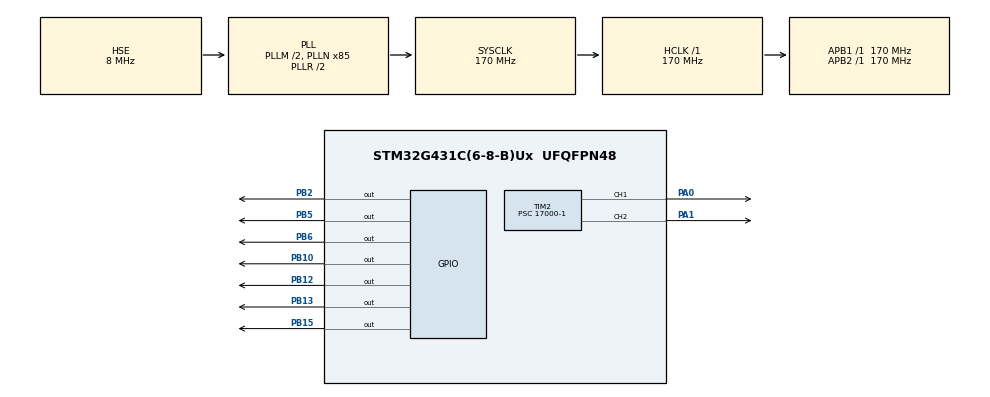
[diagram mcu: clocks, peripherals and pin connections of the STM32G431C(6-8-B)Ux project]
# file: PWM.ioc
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Mcu.Family=STM32G4
Mcu.Name=STM32G431C(6-8-B)Ux
Mcu.Package=UFQFPN48
NVIC.PriorityGroup=NVIC_PRIORITYGROUP_4
PA0.Signal=S_TIM2_CH1
PA1.Signal=S_TIM2_CH2
PA13.Mode=Serial_Wire
PA13.Signal=SYS_JTMS-SWDIO
PA14.Mode=Serial_Wire
PA14.Signal=SYS_JTCK-SWCLK
PB10.Signal=GPIO_Output
PB12.GPIO_PuPd=GPIO_NOPULL
PB12.Signal=GPIO_Output
PB13.Signal=GPIO_Output
PB15.Signal=GPIO_Output
PB2.Signal=GPIO_Output
PB5.Signal=GPIO_Output
PB6.Signal=GPIO_Output
PF0-OSC_IN.Mode=HSE-External-Oscillator
PF0-OSC_IN.Signal=RCC_OSC_IN
PF1-OSC_OUT.Mode=HSE-External-Oscillator
PF1-OSC_OUT.Signal=RCC_OSC_OUT
ProjectManager.HeapSize=0x200
ProjectManager.StackSize=0x400
ProjectManager.TargetToolchain=STM32CubeIDE
RCC.ADC12Freq_Value=170000000
RCC.AHBFreq_Value=170000000
RCC.APB1Freq_Value=170000000
RCC.APB1TimFreq_Value=170000000
RCC.APB2Freq_Value=170000000
RCC.APB2TimFreq_Value=170000000
RCC.CortexFreq_Value=170000000
RCC.EXTERNAL_CLOCK_VALUE=12288000
RCC.HCLKFreq_Value=170000000
RCC.HSE_VALUE=8000000
RCC.HSI48_VALUE=48000000
RCC.HSI_VALUE=16000000
RCC.LSE_VALUE=32768
RCC.PLLM=RCC_PLLM_DIV2
RCC.PLLN=85
RCC.PLLSourceVirtual=RCC_PLLSOURCE_HSE
RCC.SYSCLKFreq_VALUE=170000000
RCC.SYSCLKSource=RCC_SYSCLKSOURCE_PLLCLK
RCC.USBFreq_Value=170000000
RCC.VCOOutputFreq_Value=340000000
SH.S_TIM2_CH1.0=TIM2_CH1,PWM Generation1 CH1
SH.S_TIM2_CH2.0=TIM2_CH2,PWM Generation2 CH2
TIM2.Channel-PWM\ Generation1\ CH1=TIM_CHANNEL_1
TIM2.Channel-PWM\ Generation2\ CH2=TIM_CHANNEL_2
TIM2.PeriodNoDither=1000-1
TIM2.Prescaler=17000-1
TIM2.PulseNoDither_1=200
VP_SYS_VS_DBSignals.Mode=DisableDeadBatterySignals
board=custom

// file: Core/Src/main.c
/* USER CODE BEGIN Header */
/**
  ******************************************************************************
  * @file           : main.c
  * @brief          : Main program body
  ******************************************************************************
  * @attention
  *
  * Copyright (c) 2026 STMicroelectronics.
  * All rights reserved.
  *
  * This software is licensed under terms that can be found in the LICENSE file
  * in the root directory of this software component.
  * If no LICENSE file comes with this software, it is provided AS-IS.
  *
  ******************************************************************************
  */
/* USER CODE END Header */
#include "main.h"

TIM_HandleTypeDef htim2;

void SystemClock_Config(void);
static void MX_GPIO_Init(void);
static void MX_TIM2_Init(void);

/* USER CODE BEGIN 0 */
/* Private user code ---------------------------------------------------------*/
/* USER CODE BEGIN 0 */

void Flash_Pins_NonBlocking(void)
{
    // 1. ADD GPIO_PIN_10 TO THE END OF THIS ARRAY
    static uint16_t pins[] = {GPIO_PIN_2, GPIO_PIN_6, GPIO_PIN_5, GPIO_PIN_13, GPIO_PIN_15, GPIO_PIN_12};

    static uint8_t pin_index = 0;
    static uint8_t is_pin_on = 0;
    static uint32_t last_toggle_time = 0;

    uint32_t current_time = HAL_GetTick();

    if (is_pin_on)
    {
        if ((current_time - last_toggle_time) >= 1)
        {
            HAL_GPIO_WritePin(GPIOB, pins[pin_index], GPIO_PIN_RESET);
            is_pin_on = 0;
            last_toggle_time = current_time;

            pin_index++;

            // 2. CHANGE THIS LIMIT FROM 5 TO 6
            if (pin_index >= 6) {
                pin_index = 0;
            }
        }
    }
    else
    {
        if ((current_time - last_toggle_time) >= 5)
        {
            HAL_GPIO_WritePin(GPIOB, pins[pin_index], GPIO_PIN_SET);
            is_pin_on = 1;
            last_toggle_time = current_time;
        }
    }
}

/* USER CODE END 0 */

int main(void)
{

  /* MCU Configuration--------------------------------------------------------*/

  /* Reset of all peripherals, Initializes the Flash interface and the Systick. */
  HAL_Init();

  /* Configure the system clock */
  SystemClock_Config();

  /* Initialize all configured peripherals */
  MX_GPIO_Init();
  MX_TIM2_Init();
  /* USER CODE BEGIN 2 */
  // Start PWM (example: TIM1 Channel 1)
//
//  	  HAL_TIM_PWM_Start(&htim2, TIM_CHANNEL_2);
//  	  // Set duty cycle (20%)
//  	  __HAL_TIM_SET_COMPARE(&htim2, TIM_CHANNEL_2, 200);

  /* USER CODE END 2 */

  /* Infinite loop */
  while (1)
  {

    /* USER CODE BEGIN 3 */
	  Flash_Pins_NonBlocking();
  }
  /* USER CODE END 3 */
}

void SystemClock_Config(void)
{
  RCC_OscInitTypeDef RCC_OscInitStruct = {0};
  RCC_ClkInitTypeDef RCC_ClkInitStruct = {0};

  /** Configure the main internal regulator output voltage
  */
  HAL_PWREx_ControlVoltageScaling(PWR_REGULATOR_VOLTAGE_SCALE1_BOOST);

  /** Initializes the RCC Oscillators according to the specified parameters
  * in the RCC_OscInitTypeDef structure.
  */
  RCC_OscInitStruct.OscillatorType = RCC_OSCILLATORTYPE_HSE;
  RCC_OscInitStruct.HSEState = RCC_HSE_ON;
  RCC_OscInitStruct.PLL.PLLState = RCC_PLL_ON;
  RCC_OscInitStruct.PLL.PLLSource = RCC_PLLSOURCE_HSE;
  RCC_OscInitStruct.PLL.PLLM = RCC_PLLM_DIV2;
  RCC_OscInitStruct.PLL.PLLN = 85;
  RCC_OscInitStruct.PLL.PLLP = RCC_PLLP_DIV2;
  RCC_OscInitStruct.PLL.PLLQ = RCC_PLLQ_DIV2;
  RCC_OscInitStruct.PLL.PLLR = RCC_PLLR_DIV2;
  if (HAL_RCC_OscConfig(&RCC_OscInitStruct) != HAL_OK)
  {
    Error_Handler();
  }

  /** Initializes the CPU, AHB and APB buses clocks
  */
  RCC_ClkInitStruct.ClockType = RCC_CLOCKTYPE_HCLK|RCC_CLOCKTYPE_SYSCLK
                              |RCC_CLOCKTYPE_PCLK1|RCC_CLOCKTYPE_PCLK2;
  RCC_ClkInitStruct.SYSCLKSource = RCC_SYSCLKSOURCE_PLLCLK;
  RCC_ClkInitStruct.AHBCLKDivider = RCC_SYSCLK_DIV1;
  RCC_ClkInitStruct.APB1CLKDivider = RCC_HCLK_DIV1;
  RCC_ClkInitStruct.APB2CLKDivider = RCC_HCLK_DIV1;

  if (HAL_RCC_ClockConfig(&RCC_ClkInitStruct, FLASH_LATENCY_4) != HAL_OK)
  {
    Error_Handler();
  }
}

static void MX_TIM2_Init(void)
{

  TIM_MasterConfigTypeDef sMasterConfig = {0};
  TIM_OC_InitTypeDef sConfigOC = {0};

  htim2.Instance = TIM2;
  htim2.Init.Prescaler = 17000-1;
  htim2.Init.CounterMode = TIM_COUNTERMODE_UP;
  htim2.Init.Period = 999;
  htim2.Init.ClockDivision = TIM_CLOCKDIVISION_DIV1;
  htim2.Init.AutoReloadPreload = TIM_AUTORELOAD_PRELOAD_DISABLE;
  if (HAL_TIM_PWM_Init(&htim2) != HAL_OK)
  {
    Error_Handler();
  }
  sMasterConfig.MasterOutputTrigger = TIM_TRGO_RESET;
  sMasterConfig.MasterSlaveMode = TIM_MASTERSLAVEMODE_DISABLE;
  if (HAL_TIMEx_MasterConfigSynchronization(&htim2, &sMasterConfig) != HAL_OK)
  {
    Error_Handler();
  }
  sConfigOC.OCMode = TIM_OCMODE_PWM1;
  sConfigOC.Pulse = 200;
  sConfigOC.OCPolarity = TIM_OCPOLARITY_HIGH;
  sConfigOC.OCFastMode = TIM_OCFAST_DISABLE;
  if (HAL_TIM_PWM_ConfigChannel(&htim2, &sConfigOC, TIM_CHANNEL_1) != HAL_OK)
  {
    Error_Handler();
  }
  sConfigOC.Pulse = 0;
  if (HAL_TIM_PWM_ConfigChannel(&htim2, &sConfigOC, TIM_CHANNEL_2) != HAL_OK)
  {
    Error_Handler();
  }
  HAL_TIM_MspPostInit(&htim2);

}

static void MX_GPIO_Init(void)
{
  GPIO_InitTypeDef GPIO_InitStruct = {0};

  /* GPIO Ports Clock Enable */
  __HAL_RCC_GPIOF_CLK_ENABLE();
  __HAL_RCC_GPIOA_CLK_ENABLE();
  __HAL_RCC_GPIOB_CLK_ENABLE();

  /*Configure GPIO pin Output Level */
  HAL_GPIO_WritePin(GPIOB, GPIO_PIN_2|GPIO_PIN_10|GPIO_PIN_12|GPIO_PIN_13
                          |GPIO_PIN_15|GPIO_PIN_5|GPIO_PIN_6, GPIO_PIN_RESET);

  /*Configure GPIO pins : PB2 PB10 PB12 PB13
                           PB15 PB5 PB6 */
  GPIO_InitStruct.Pin = GPIO_PIN_2|GPIO_PIN_10|GPIO_PIN_12|GPIO_PIN_13
                          |GPIO_PIN_15|GPIO_PIN_5|GPIO_PIN_6;
  GPIO_InitStruct.Mode = GPIO_MODE_OUTPUT_PP;
  GPIO_InitStruct.Pull = GPIO_NOPULL;
  GPIO_InitStruct.Speed = GPIO_SPEED_FREQ_LOW;
  HAL_GPIO_Init(GPIOB, &GPIO_InitStruct);

}

void Error_Handler(void)
{
  __disable_irq();
  while (1)
  {
  }
}
